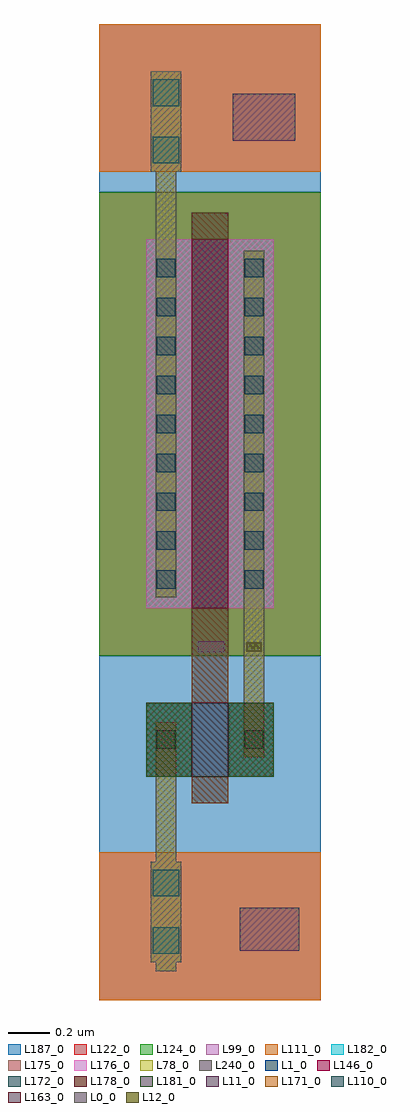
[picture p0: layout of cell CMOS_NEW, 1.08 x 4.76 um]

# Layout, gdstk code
import gdstk
lib = gdstk.Library(unit=1e-6, precision=1e-09)
def R(c, l, rs):  # rectangles x0, y0, x1, y1
    for r in rs: c.add(gdstk.rectangle(r[:2], r[2:], *l))
def A(c, l, x, y, w, h, nx, ny, dx, dy):  # array of equal rectangles
    R(c, l, [(x+i*dx, y+j*dy, x+i*dx+w, y+j*dy+h) for i in range(nx) for j in range(ny)])
def P(c, l, *ps):  # polygons
    for p in ps: c.add(gdstk.Polygon(p, *l))
L0_0 = (0, 0)
L1_0 = (1, 0)
L11_0 = (11, 0)
L12_0 = (12, 0)
L78_0 = (78, 0)
L99_0 = (99, 0)
L110_0 = (110, 0)
L111_0 = (111, 0)
L122_0 = (122, 0)
L124_0 = (124, 0)
L146_0 = (146, 0)
L163_0 = (163, 0)
L171_0 = (171, 0)
L172_0 = (172, 0)
L175_0 = (175, 0)
L176_0 = (176, 0)
L178_0 = (178, 0)
L181_0 = (181, 0)
L182_0 = (182, 0)
L187_0 = (187, 0)
L240_0 = (240, 0)

cmos_new = lib.new_cell('CMOS_NEW')
R(cmos_new, L0_0, [(-0.83,0.945,-0.7,1)])
R(cmos_new, L1_0, [(-0.86,0.21,-0.68,3.09)])
R(cmos_new, L11_0, [(-0.625,-0.51,-0.335,-0.3), (-0.66,3.44,-0.355,3.67)])
R(cmos_new, L12_0, [(-0.59,0.95,-0.52,0.995)])
R(cmos_new, L78_0, [(-0.605,0.435,-0.505,2.905)])
P(cmos_new, L78_0, [(-0.91,3.78),(-0.91,3.29),(-0.935,3.29),(-0.935,1.215),(-1.035,1.215),(-1.035,3.29),(-1.06,3.29),(-1.06,3.78)],
  [(-0.935,0.605),(-0.935,-0.075),(-0.91,-0.075),(-0.91,-0.565),(-0.935,-0.565),(-0.935,-0.61),(-1.035,-0.61),(-1.035,-0.565),(-1.06,-0.565),(-1.06,-0.075),(-1.035,-0.075),(-1.035,0.605)])
R(cmos_new, L99_0, [(-1.31,-0.75,-0.23,-0.03), (-1.31,3.29,-0.23,4.01)])
R(cmos_new, L110_0, [(-1.05,-0.525,-0.92,-0.395), (-1.05,-0.245,-0.92,-0.115), (-1.05,3.33,-0.92,3.46), (-1.05,3.61,-0.92,3.74)])
R(cmos_new, L111_0, [(-1.31,-0.75,-0.23,-0.03), (-1.31,3.29,-0.23,4.01)])
R(cmos_new, L122_0, [(-1.31,0.93,-0.23,3.19)])
R(cmos_new, L124_0, [(-1.31,0.93,-0.23,3.19)])
R(cmos_new, L146_0, [(-0.86,1.16,-0.68,2.96)])
R(cmos_new, L163_0, [(-0.86,0.34,-0.68,0.7)])
R(cmos_new, L171_0, [(-0.86,0.21,-0.68,0.34), (-0.86,0.7,-0.68,1.16), (-0.86,2.96,-0.68,3.09)])
A(cmos_new, L172_0, -1.03, 1.255, 0.09, 0.09, 1, 9, 0, 0.19)
A(cmos_new, L172_0, -0.6, 1.255, 0.09, 0.09, 1, 9, 0, 0.19)
R(cmos_new, L172_0, [(-1.03,0.475,-0.94,0.565), (-0.6,0.475,-0.51,0.565)])
R(cmos_new, L175_0, [(-1.08,1.16,-0.86,2.96), (-0.68,1.16,-0.46,2.96)])
R(cmos_new, L176_0, [(-1.08,1.16,-0.86,2.96), (-0.68,1.16,-0.46,2.96)])
R(cmos_new, L178_0, [(-1.08,0.34,-0.86,0.7), (-0.68,0.34,-0.46,0.7)])
R(cmos_new, L181_0, [(-1.08,0.34,-0.86,0.7), (-0.68,0.34,-0.46,0.7)])
R(cmos_new, L182_0, [(-1.08,0.34,-0.86,0.7), (-0.68,0.34,-0.46,0.7), (-1.08,1.16,-0.86,2.96), (-0.68,1.16,-0.46,2.96)])
R(cmos_new, L187_0, [(-1.31,-0.75,-0.23,0.93), (-1.31,3.19,-0.23,4.01)])
R(cmos_new, L240_0, [(-0.605,0.435,-0.505,2.905)])
P(cmos_new, L240_0, [(-0.91,3.78),(-0.91,3.29),(-0.935,3.29),(-0.935,1.215),(-1.035,1.215),(-1.035,3.29),(-1.06,3.29),(-1.06,3.78)],
  [(-0.935,0.605),(-0.935,-0.075),(-0.91,-0.075),(-0.91,-0.565),(-0.935,-0.565),(-0.935,-0.61),(-1.035,-0.61),(-1.035,-0.565),(-1.06,-0.565),(-1.06,-0.075),(-1.035,-0.075),(-1.035,0.605)])

lib.write_gds('CMOS_NEW.gds')
